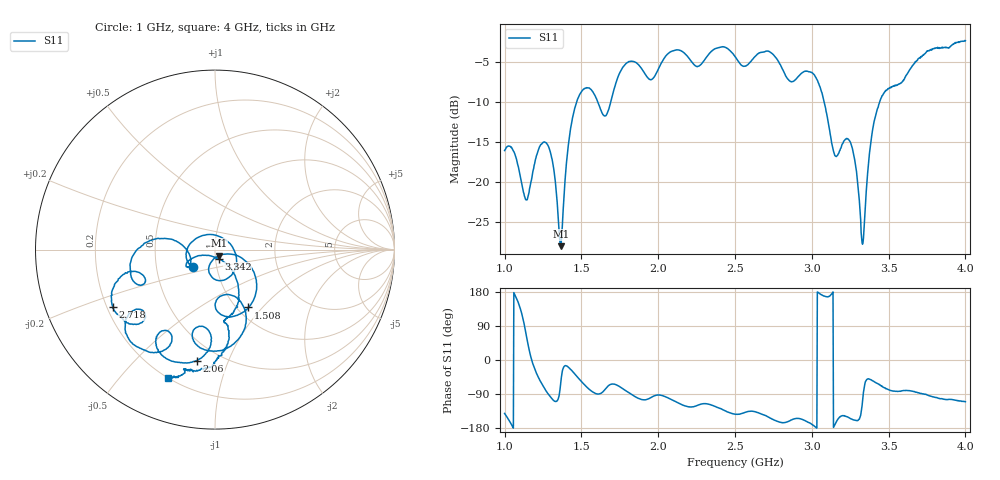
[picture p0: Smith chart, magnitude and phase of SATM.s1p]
# MHz S MA R 50
!  freq  S11
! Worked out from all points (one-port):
!   1000 points, 1 GHz to 4 GHz, reference 50 ohm
!   lowest |S11| = -28.1 dB at 1.366 GHz (marker M1), VSWR 1.08, Z = 52.1 - j3.44 ohm
!   |S11| at or under -10 dB: start of sweep to 1.469 GHz; 1.606 GHz to 1.691 GHz (85.67 MHz wide, 5.2 % of centre); 3.081 GHz to 3.442 GHz (361.8 MHz wide, 11.1 % of centre)
!   S11 on the Smith chart (normalised r, x): 1 GHz: 0.77, -0.16; 1.508 GHz: 1.12, -0.84; 2.06 GHz: 0.38, -0.78; 2.718 GHz: 0.22, -0.25; 3.342 GHz: 1.04, -0.10; 4 GHz: 0.20, -0.68
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1000  0.1565 -141.0
1141.141  0.07685 66.2
1276.276  0.1721 -85.4
1366.366  0.03951 -56.6
1375.375  0.05206 -30.2
1429.429  0.2145 -24.7
1507.508  0.3724 -60.0
1654.655  0.2575 -77.3
1750.751  0.4813 -70.7
1882.883  0.5225 -103.3
1954.955  0.4339 -98.6
2060.06  0.6263 -99.2
2126.126  0.6666 -112.4
2237.237  0.5348 -122.4
2381.381  0.6826 -124.5
2501.502  0.6033 -143.1
2588.589  0.5447 -135.6
2717.718  0.6544 -150.6
2876.877  0.4221 -156.5
3012.012  0.4709 -172.9
3150.15  0.1454 -170.4
3252.252  0.1757 -154.5
3324.324  0.04445 -130.8
3342.342  0.0535 -68.4
3381.381  0.1676 -51.7
3426.426  0.284 -62.0
3627.628  0.4826 -80.7
4000  0.7601 -110.0
